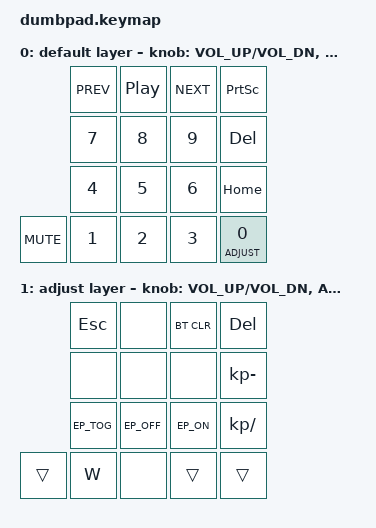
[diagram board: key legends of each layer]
/*
 * Copyright (c) 2022 The ZMK Contributors
 *
 * SPDX-License-Identifier: MIT
 */

#include <behaviors.dtsi>
#include <dt-bindings/zmk/keys.h>
#include <dt-bindings/zmk/bt.h>
#include <dt-bindings/zmk/ext_power.h>

#define TIMEOUT 50

#define DEFAULT 0
#define ADJUST  1

&left_encoder {
    status = "okay";
};

&right_encoder {
    status = "okay";
};

/ {
    /*  ------------------
    *  |     0  1  2  3 |
    *  |     4  5  6  7 |
    *  |     8  9 10 11 |
    *  | 12 13 14 15 16 |
    *  ------------------
    */

    behaviors {
        pht: positional_hold_tap {
            compatible = "zmk,behavior-hold-tap";
            #binding-cells = <2>;
            flavor = "hold-preferred";
            tapping-term-ms = <400>;
            quick-tap-ms = <200>;
            bindings = <&mo>, <&kp>;
        };
    };


//     combos {
//         compatible = "zmk,combos";
//          combo_bootloader {
//              timeout-ms = <TIMEOUT>;
//              key-positions = <1 2>;
//              bindings = <&bootloader>;
//          };
//              timeout-ms = <TIMEOUT>;
//              key-positions = <1 3>;
//              bindings = <&sys_reset>;
//          };
//          combo_bt_nxt {
//              timeout-ms = <TIMEOUT>;
//              key-positions = <1 4>;
//              bindings = <&bt BT_NXT>;
//          };
//          combo_btclr {
//              timeout-ms = <TIMEOUT>;
//              key-positions = <1 6>;
//              bindings = <&bt BT_CLR>;
//          };
//     };
     
    sensors {
        compatible = "zmk,keymap-sensors";
        sensors = <&left_encoder &right_encoder>;
    };

    keymap {
        compatible = "zmk,keymap";
        default_layer {
            display-name = "default layer";
            bindings = <
                            &kp C_PREV &kp C_PP     &kp C_NEXT     &kp PSCRN
                            &kp N7     &kp N8       &kp N9         &kp DEL
                            &kp N4     &kp N5       &kp N6         &kp HOME
                &kp C_MUTE  &kp N1     &kp N2       &kp N3         &pht ADJUST N0
            >;
            sensor-bindings = <&inc_dec_kp C_VOL_UP C_VOL_DN &inc_dec_kp C_AC_ZOOM_OUT C_AC_ZOOM_IN>;
        };
        
        adjust_layer {
            display-name = "adjust layer";
            bindings = <
                            &kp ESC    &none         &bt BT_CLR      &kp DEL
                            &none      &none         &none           &kp KP_MINUS
                            &kp EP_TOG &kp EP_OFF    &kp EP_ON       &kp KP_DIVIDE
                &trans      &kp W      &none         &trans          &trans
            >;
            sensor-bindings = <&inc_dec_kp C_VOL_UP C_VOL_DN &inc_dec_kp C_AC_ZOOM_OUT C_AC_ZOOM_IN>;
        };
    };
};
